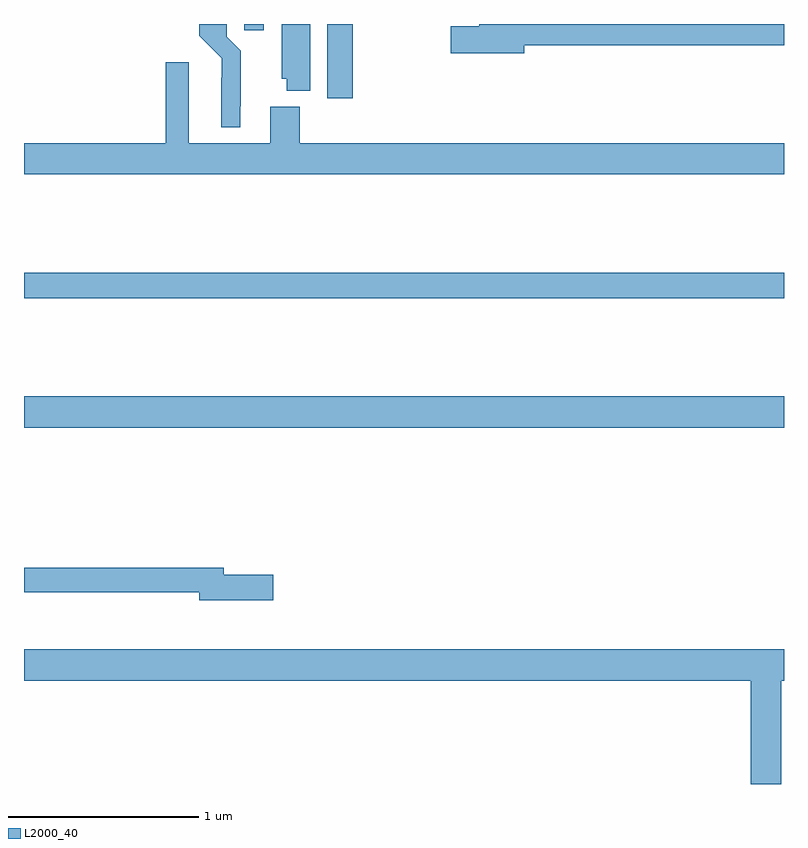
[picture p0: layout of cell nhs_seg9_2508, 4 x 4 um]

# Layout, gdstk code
import gdstk
lib = gdstk.Library(unit=1e-6, precision=1e-09)
def R(c, l, rs):  # rectangles x0, y0, x1, y1
    for r in rs: c.add(gdstk.rectangle(r[:2], r[2:], *l))
def P(c, l, *ps):  # polygons
    for p in ps: c.add(gdstk.Polygon(p, *l))
L2000_40 = (2000, 40)

nhs_seg9_2508 = lib.new_cell('nhs_seg9_2508')
R(nhs_seg9_2508, L2000_40, [(253,1240.376,257,1240.54), (253,1241.056,257,1241.192), (254.597,1242.108,254.729,1242.5), (254.159,1242.468,254.263,1242.5)])
P(nhs_seg9_2508, L2000_40, [(255.634,1242.388),(257,1242.388),(257,1242.5),(255.395,1242.5),(255.395,1242.488),(255.246,1242.488),(255.246,1242.346),(255.634,1242.346)],
  [(254.506,1242.5),(254.357,1242.5),(254.357,1242.213),(254.384,1242.213),(254.384,1242.149),(254.506,1242.149)],
  [(254.137,1242.067),(254.141,1242.067),(254.141,1242.358),(254.067,1242.432),(254.067,1242.5),(253.922,1242.5),(253.922,1242.438),(254.04,1242.32),(254.04,1242.218),(254.039,1242.218),(254.039,1241.957),(254.137,1241.957)],
  [(257,1241.872),(254.45,1241.872),(254.45,1242.064),(254.297,1242.064),(254.297,1241.872),(253.867,1241.872),(253.867,1242.298),(253.745,1242.298),(253.745,1241.872),(253,1241.872),(253,1241.708),(257,1241.708)],
  [(254.311,1239.602),(254.05,1239.602),(254.05,1239.638),(253,1239.638),(253,1239.51),(253.922,1239.51),(253.922,1239.467),(254.311,1239.467)],
  [(256.986,1239.044),(257,1239.044),(257,1239.208),(253,1239.208),(253,1239.044),(256.826,1239.044),(256.826,1238.5),(256.986,1238.5)])

lib.write_gds('nhs_seg9_2508.gds')
